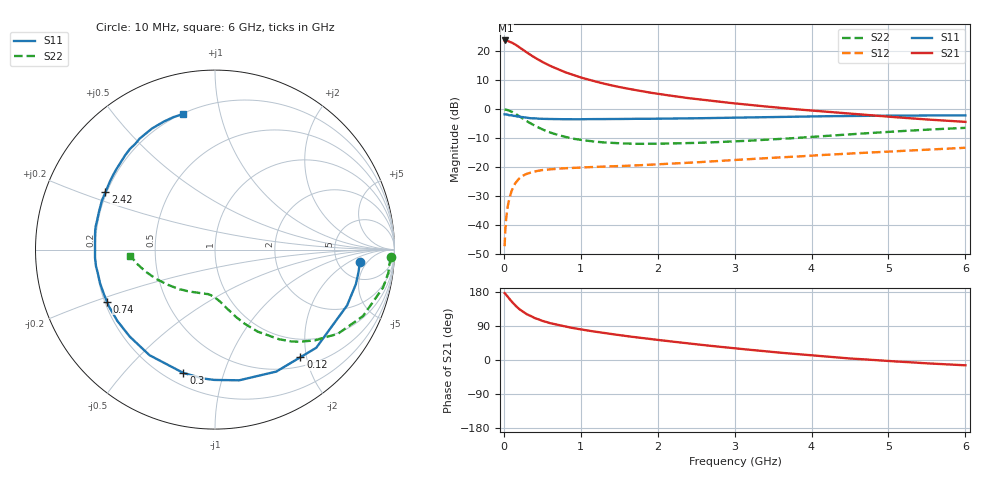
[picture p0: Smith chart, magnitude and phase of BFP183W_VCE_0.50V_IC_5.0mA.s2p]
! Infineon Technologies  Discrete & RF Semiconductors
! BFP183W
! VCE = 0.50V,  IC =  5.0 mA
! Common Emitter S-Parameters:  Jan 2016
# GHz  S  MA  R  50
!  f  S11  S21  S12  S22
! GHz  MAG  ANG  MAG  ANG  MAG  ANG  MAG  ANG
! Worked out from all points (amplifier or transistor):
!   210 points, 10 MHz to 6 GHz, reference 50 ohm
!   highest |S21| = 23.7 dB at 20 MHz (marker M1)
!   |S21| within 3 dB of that: start of sweep to 236.5 MHz
!   unconditionally stable (mu >= 1): 1.533 GHz to end of sweep
!   at 185 MHz: K = 0.16, MSG = 23.0 dB, |S12| = -24.4 dB
!   at 1.52 GHz: K = 1.00, MSG = 13.6 dB, |S12| = -19.7 dB
!   at 6 GHz: K = 1.20, MAG = 1.8 dB, |S12| = -13.4 dB
!   S11 on the Smith chart (normalised r, x): 10 MHz: 8.29, -3.21; 120 MHz: 0.65, -1.89; 300 MHz: 0.27, -0.74; 740 MHz: 0.21, -0.22; 2.42 GHz: 0.19, +0.24; 6 GHz: 0.20, +0.77
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0.01  0.8105 -4.7  15.15 176.7  0.0043 89.7  0.9816 -2.5
0.02  0.8093 -9.1  15.24 174.8  0.0085 82.6  0.9745 -5.1
0.03  0.8081 -13.8  15.2 172.2  0.0127 83.5  0.9742 -7.7
0.05  0.7991 -22.9  14.98 166.7  0.0206 78.3  0.9601 -12.7
0.1  0.7858 -44.1  14.1 154.5  0.0384 67.1  0.9039 -24.2
0.12  0.7654 -51.6  13.58 150.3  0.044 62.8  0.8711 -28.1
0.15  0.7606 -63.3  12.95 143.5  0.0528 58.2  0.83 -34.4
0.2  0.7406 -79.5  11.66 134.4  0.0633 50.9  0.7509 -42.4
0.26  0.721 -95.3  10.26 125.8  0.0722 43.9  0.6661 -50.2
0.3  0.7095 -104.4  9.396 120.6  0.0766 40.4  0.6146 -54.4
0.4  0.6923 -121.8  7.731 110.8  0.0837 33.8  0.5151 -62.5
0.5  0.6787 -134.4  6.491 103.3  0.0885 29.8  0.4448 -68.2
0.6  0.6737 -143.9  5.564 97.3  0.0913 27.0  0.3939 -72.6
0.74  0.6681 -154.3  4.647 90.8  0.094 24.8  0.346 -77.2
1.02  0.666 -168.9  3.439 80.1  0.0979 22.7  0.2907 -84.6
1.4  0.6688 177.7  2.558 68.4  0.1029 22.4  0.2617 -92.3
2.02  0.6809 161.0  1.816 52.6  0.1115 24.9  0.2521 -104.0
2.42  0.6898 152.3  1.531 43.3  0.1187 25.9  0.2585 -111.9
3.1  0.7122 138.9  1.214 29.0  0.1343 27.3  0.2808 -125.4
4.1  0.7493 122.8  0.918 10.7  0.1598 26.7  0.3369 -146.1
5.1  0.7688 110.9  0.721 -3.9  0.1871 24.2  0.4109 -163.7
6  0.7761 103.1  0.6 -14.0  0.2144 21.1  0.4731 -176.0
